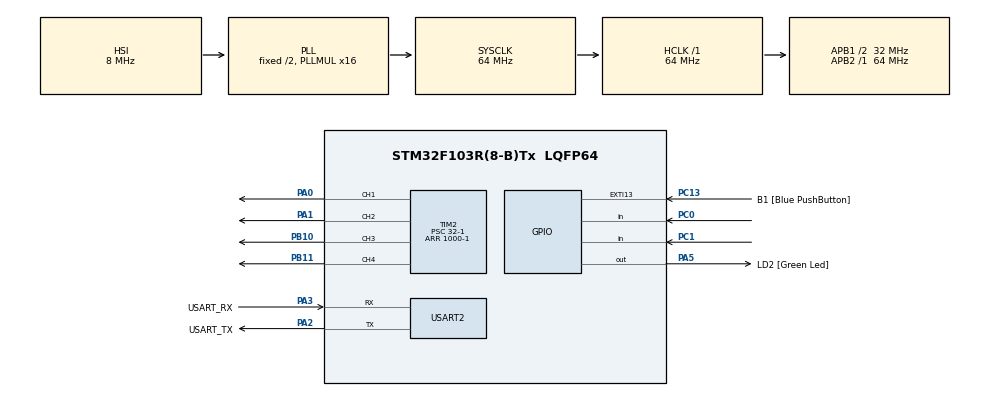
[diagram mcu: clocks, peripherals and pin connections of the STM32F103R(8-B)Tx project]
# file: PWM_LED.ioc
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Mcu.Family=STM32F1
Mcu.Name=STM32F103R(8-B)Tx
Mcu.Package=LQFP64
NVIC.EXTI15_10_IRQn=true\:0\:0\:false\:false\:true\:true\:true\:true
NVIC.PriorityGroup=NVIC_PRIORITYGROUP_4
PA0-WKUP.Signal=S_TIM2_CH1_ETR
PA1.Signal=S_TIM2_CH2
PA13.GPIO_Label=TMS
PA13.Mode=Serial_Wire
PA13.Signal=SYS_JTMS-SWDIO
PA14.GPIO_Label=TCK
PA14.Mode=Serial_Wire
PA14.Signal=SYS_JTCK-SWCLK
PA2.GPIO_Label=USART_TX
PA2.GPIO_Mode=GPIO_MODE_AF_PP
PA2.GPIO_PuPd=GPIO_NOPULL
PA2.GPIO_Speed=GPIO_SPEED_FREQ_LOW
PA2.Mode=Asynchronous
PA2.Signal=USART2_TX
PA3.GPIO_Label=USART_RX
PA3.GPIO_Mode=GPIO_MODE_AF_PP
PA3.GPIO_PuPd=GPIO_NOPULL
PA3.GPIO_Speed=GPIO_SPEED_FREQ_LOW
PA3.Mode=Asynchronous
PA3.Signal=USART2_RX
PA5.GPIO_Label=LD2 [Green Led]
PA5.GPIO_ModeDefaultOutputPP=GPIO_MODE_OUTPUT_PP
PA5.GPIO_PuPd=GPIO_NOPULL
PA5.GPIO_Speed=GPIO_SPEED_FREQ_LOW
PA5.Signal=GPIO_Output
PB10.Signal=S_TIM2_CH3
PB11.Signal=S_TIM2_CH4
PB3.GPIO_Label=SWO
PB3.Signal=SYS_JTDO-TRACESWO
PC0.Signal=GPIO_Input
PC1.Signal=GPIO_Input
PC13-TAMPER-RTC.GPIO_Label=B1 [Blue PushButton]
PC13-TAMPER-RTC.GPIO_PuPd=GPIO_NOPULL
PC13-TAMPER-RTC.Signal=GPXTI13
PC14-OSC32_IN.Signal=RCC_OSC32_IN
PC15-OSC32_OUT.Signal=RCC_OSC32_OUT
PD0-OSC_IN.Signal=RCC_OSC_IN
PD1-OSC_OUT.Signal=RCC_OSC_OUT
ProjectManager.HeapSize=0x200
ProjectManager.StackSize=0x400
ProjectManager.TargetToolchain=STM32CubeIDE
RCC.AHBFreq_Value=64000000
RCC.APB1CLKDivider=RCC_HCLK_DIV2
RCC.APB1Freq_Value=32000000
RCC.APB1TimFreq_Value=64000000
RCC.APB2Freq_Value=64000000
RCC.APB2TimFreq_Value=64000000
RCC.HCLKFreq_Value=64000000
RCC.PLLMUL=RCC_PLL_MUL16
RCC.RTCClockSelection=RCC_RTCCLKSOURCE_LSE
RCC.SYSCLKFreq_VALUE=64000000
RCC.SYSCLKSource=RCC_SYSCLKSOURCE_PLLCLK
RCC.USBFreq_Value=64000000
SH.S_TIM2_CH1_ETR.0=TIM2_CH1,PWM Generation1 CH1
SH.S_TIM2_CH2.0=TIM2_CH2,PWM Generation2 CH2
SH.S_TIM2_CH3.0=TIM2_CH3,PWM Generation3 CH3
SH.S_TIM2_CH4.0=TIM2_CH4,PWM Generation4 CH4
TIM2.Channel-PWM\ Generation1\ CH1=TIM_CHANNEL_1
TIM2.Channel-PWM\ Generation2\ CH2=TIM_CHANNEL_2
TIM2.Channel-PWM\ Generation3\ CH3=TIM_CHANNEL_3
TIM2.Channel-PWM\ Generation4\ CH4=TIM_CHANNEL_4
TIM2.Period=1000-1
TIM2.Prescaler=32-1
TIM2.Pulse-PWM\ Generation1\ CH1=500-1
USART2.VirtualMode=VM_ASYNC
VP_TIM2_VS_ClockSourceINT.Mode=Internal
board=NUCLEO-F103RB

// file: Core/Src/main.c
/* USER CODE BEGIN Header */
/**
  ******************************************************************************
  * @file           : main.c
  * @brief          : Main program body
  ******************************************************************************
  * @attention
  *
  * Copyright (c) 2022 STMicroelectronics.
  * All rights reserved.
  *
  * This software is licensed under terms that can be found in the LICENSE file
  * in the root directory of this software component.
  * If no LICENSE file comes with this software, it is provided AS-IS.
  *
  ******************************************************************************
  */
/* USER CODE END Header */
#include "main.h"

TIM_HandleTypeDef htim2;

UART_HandleTypeDef huart2;

void SystemClock_Config(void);
static void MX_GPIO_Init(void);
static void MX_USART2_UART_Init(void);
static void MX_TIM2_Init(void);

/* USER CODE BEGIN 0 */
typedef struct sw_t sw_t;
struct sw_t
{
	GPIO_TypeDef *port;
	int pin;
};
sw_t sw[2] = {
		{GPIOC, GPIO_PIN_0},
		{GPIOC, GPIO_PIN_1}
};
/* USER CODE END 0 */

int main(void)
{

  /* MCU Configuration--------------------------------------------------------*/

  /* Reset of all peripherals, Initializes the Flash interface and the Systick. */
  HAL_Init();

  /* Configure the system clock */
  SystemClock_Config();

  /* Initialize all configured peripherals */
  MX_GPIO_Init();
  MX_USART2_UART_Init();
  MX_TIM2_Init();
  /* USER CODE BEGIN 2 */
  HAL_TIM_PWM_Start(&htim2, TIM_CHANNEL_1);
  HAL_TIM_PWM_Start(&htim2, TIM_CHANNEL_2);
  HAL_TIM_PWM_Start(&htim2, TIM_CHANNEL_3);
  HAL_TIM_PWM_Start(&htim2, TIM_CHANNEL_4);
  int duty = 0;
  int autoReload = __HAL_TIM_GET_AUTORELOAD(&htim2);
  /* USER CODE END 2 */

  /* Infinite loop */
  /* USER CODE BEGIN WHILE */
  while (1)
  {
	  if(HAL_GPIO_ReadPin(sw[0].port, sw[0].pin) == 1){
		  while(HAL_GPIO_ReadPin(sw[1].port, sw[1].pin) != 1){
			  while(duty < autoReload && HAL_GPIO_ReadPin(sw[1].port, sw[1].pin) != 1){
				  __HAL_TIM_SET_COMPARE(&htim2, TIM_CHANNEL_1, ++duty);
				  __HAL_TIM_SET_COMPARE(&htim2, TIM_CHANNEL_2, duty);
				  __HAL_TIM_SET_COMPARE(&htim2, TIM_CHANNEL_3, duty);
				  __HAL_TIM_SET_COMPARE(&htim2, TIM_CHANNEL_4, duty);
				  HAL_Delay(1);
			  }
			  while(duty > 0 && HAL_GPIO_ReadPin(sw[1].port, sw[1].pin) != 1){
				  __HAL_TIM_SET_COMPARE(&htim2, TIM_CHANNEL_1, --duty);
				  __HAL_TIM_SET_COMPARE(&htim2, TIM_CHANNEL_2, duty);
				  __HAL_TIM_SET_COMPARE(&htim2, TIM_CHANNEL_3, duty);
				  __HAL_TIM_SET_COMPARE(&htim2, TIM_CHANNEL_4, duty);
				  HAL_Delay(1);
			  }
		  }
		  duty = 0;
		  __HAL_TIM_SET_COMPARE(&htim2, TIM_CHANNEL_1, duty);
		  __HAL_TIM_SET_COMPARE(&htim2, TIM_CHANNEL_2, duty);
		  __HAL_TIM_SET_COMPARE(&htim2, TIM_CHANNEL_3, duty);
		  __HAL_TIM_SET_COMPARE(&htim2, TIM_CHANNEL_4, duty);
	  }
    /* USER CODE END WHILE */

  }
}

void SystemClock_Config(void)
{
  RCC_OscInitTypeDef RCC_OscInitStruct = {0};
  RCC_ClkInitTypeDef RCC_ClkInitStruct = {0};

  /** Initializes the RCC Oscillators according to the specified parameters
  * in the RCC_OscInitTypeDef structure.
  */
  RCC_OscInitStruct.OscillatorType = RCC_OSCILLATORTYPE_HSI;
  RCC_OscInitStruct.HSIState = RCC_HSI_ON;
  RCC_OscInitStruct.HSICalibrationValue = RCC_HSICALIBRATION_DEFAULT;
  RCC_OscInitStruct.PLL.PLLState = RCC_PLL_ON;
  RCC_OscInitStruct.PLL.PLLSource = RCC_PLLSOURCE_HSI_DIV2;
  RCC_OscInitStruct.PLL.PLLMUL = RCC_PLL_MUL16;
  if (HAL_RCC_OscConfig(&RCC_OscInitStruct) != HAL_OK)
  {
    Error_Handler();
  }

  /** Initializes the CPU, AHB and APB buses clocks
  */
  RCC_ClkInitStruct.ClockType = RCC_CLOCKTYPE_HCLK|RCC_CLOCKTYPE_SYSCLK
                              |RCC_CLOCKTYPE_PCLK1|RCC_CLOCKTYPE_PCLK2;
  RCC_ClkInitStruct.SYSCLKSource = RCC_SYSCLKSOURCE_PLLCLK;
  RCC_ClkInitStruct.AHBCLKDivider = RCC_SYSCLK_DIV1;
  RCC_ClkInitStruct.APB1CLKDivider = RCC_HCLK_DIV2;
  RCC_ClkInitStruct.APB2CLKDivider = RCC_HCLK_DIV1;

  if (HAL_RCC_ClockConfig(&RCC_ClkInitStruct, FLASH_LATENCY_2) != HAL_OK)
  {
    Error_Handler();
  }
}

static void MX_TIM2_Init(void)
{

  TIM_ClockConfigTypeDef sClockSourceConfig = {0};
  TIM_MasterConfigTypeDef sMasterConfig = {0};
  TIM_OC_InitTypeDef sConfigOC = {0};

  htim2.Instance = TIM2;
  htim2.Init.Prescaler = 32-1;
  htim2.Init.CounterMode = TIM_COUNTERMODE_UP;
  htim2.Init.Period = 1000-1;
  htim2.Init.ClockDivision = TIM_CLOCKDIVISION_DIV1;
  htim2.Init.AutoReloadPreload = TIM_AUTORELOAD_PRELOAD_DISABLE;
  if (HAL_TIM_Base_Init(&htim2) != HAL_OK)
  {
    Error_Handler();
  }
  sClockSourceConfig.ClockSource = TIM_CLOCKSOURCE_INTERNAL;
  if (HAL_TIM_ConfigClockSource(&htim2, &sClockSourceConfig) != HAL_OK)
  {
    Error_Handler();
  }
  if (HAL_TIM_PWM_Init(&htim2) != HAL_OK)
  {
    Error_Handler();
  }
  sMasterConfig.MasterOutputTrigger = TIM_TRGO_RESET;
  sMasterConfig.MasterSlaveMode = TIM_MASTERSLAVEMODE_DISABLE;
  if (HAL_TIMEx_MasterConfigSynchronization(&htim2, &sMasterConfig) != HAL_OK)
  {
    Error_Handler();
  }
  sConfigOC.OCMode = TIM_OCMODE_PWM1;
  sConfigOC.Pulse = 0;
  sConfigOC.OCPolarity = TIM_OCPOLARITY_HIGH;
  sConfigOC.OCFastMode = TIM_OCFAST_DISABLE;
  if (HAL_TIM_PWM_ConfigChannel(&htim2, &sConfigOC, TIM_CHANNEL_1) != HAL_OK)
  {
    Error_Handler();
  }
  sConfigOC.Pulse = 0;
  if (HAL_TIM_PWM_ConfigChannel(&htim2, &sConfigOC, TIM_CHANNEL_2) != HAL_OK)
  {
    Error_Handler();
  }
  if (HAL_TIM_PWM_ConfigChannel(&htim2, &sConfigOC, TIM_CHANNEL_3) != HAL_OK)
  {
    Error_Handler();
  }
  if (HAL_TIM_PWM_ConfigChannel(&htim2, &sConfigOC, TIM_CHANNEL_4) != HAL_OK)
  {
    Error_Handler();
  }
  HAL_TIM_MspPostInit(&htim2);

}

static void MX_USART2_UART_Init(void)
{

  huart2.Instance = USART2;
  huart2.Init.BaudRate = 115200;
  huart2.Init.WordLength = UART_WORDLENGTH_8B;
  huart2.Init.StopBits = UART_STOPBITS_1;
  huart2.Init.Parity = UART_PARITY_NONE;
  huart2.Init.Mode = UART_MODE_TX_RX;
  huart2.Init.HwFlowCtl = UART_HWCONTROL_NONE;
  huart2.Init.OverSampling = UART_OVERSAMPLING_16;
  if (HAL_UART_Init(&huart2) != HAL_OK)
  {
    Error_Handler();
  }

}

static void MX_GPIO_Init(void)
{
  GPIO_InitTypeDef GPIO_InitStruct = {0};

  /* GPIO Ports Clock Enable */
  __HAL_RCC_GPIOC_CLK_ENABLE();
  __HAL_RCC_GPIOD_CLK_ENABLE();
  __HAL_RCC_GPIOA_CLK_ENABLE();
  __HAL_RCC_GPIOB_CLK_ENABLE();

  /*Configure GPIO pin Output Level */
  HAL_GPIO_WritePin(LD2_GPIO_Port, LD2_Pin, GPIO_PIN_RESET);

  /*Configure GPIO pin : B1_Pin */
  GPIO_InitStruct.Pin = B1_Pin;
  GPIO_InitStruct.Mode = GPIO_MODE_IT_RISING;
  GPIO_InitStruct.Pull = GPIO_NOPULL;
  HAL_GPIO_Init(B1_GPIO_Port, &GPIO_InitStruct);

  /*Configure GPIO pins : PC0 PC1 */
  GPIO_InitStruct.Pin = GPIO_PIN_0|GPIO_PIN_1;
  GPIO_InitStruct.Mode = GPIO_MODE_INPUT;
  GPIO_InitStruct.Pull = GPIO_NOPULL;
  HAL_GPIO_Init(GPIOC, &GPIO_InitStruct);

  /*Configure GPIO pin : LD2_Pin */
  GPIO_InitStruct.Pin = LD2_Pin;
  GPIO_InitStruct.Mode = GPIO_MODE_OUTPUT_PP;
  GPIO_InitStruct.Pull = GPIO_NOPULL;
  GPIO_InitStruct.Speed = GPIO_SPEED_FREQ_LOW;
  HAL_GPIO_Init(LD2_GPIO_Port, &GPIO_InitStruct);

  /* EXTI interrupt init*/
  HAL_NVIC_SetPriority(EXTI15_10_IRQn, 0, 0);
  HAL_NVIC_EnableIRQ(EXTI15_10_IRQn);

}

void Error_Handler(void)
{
  __disable_irq();
  while (1)
  {
  }
}
